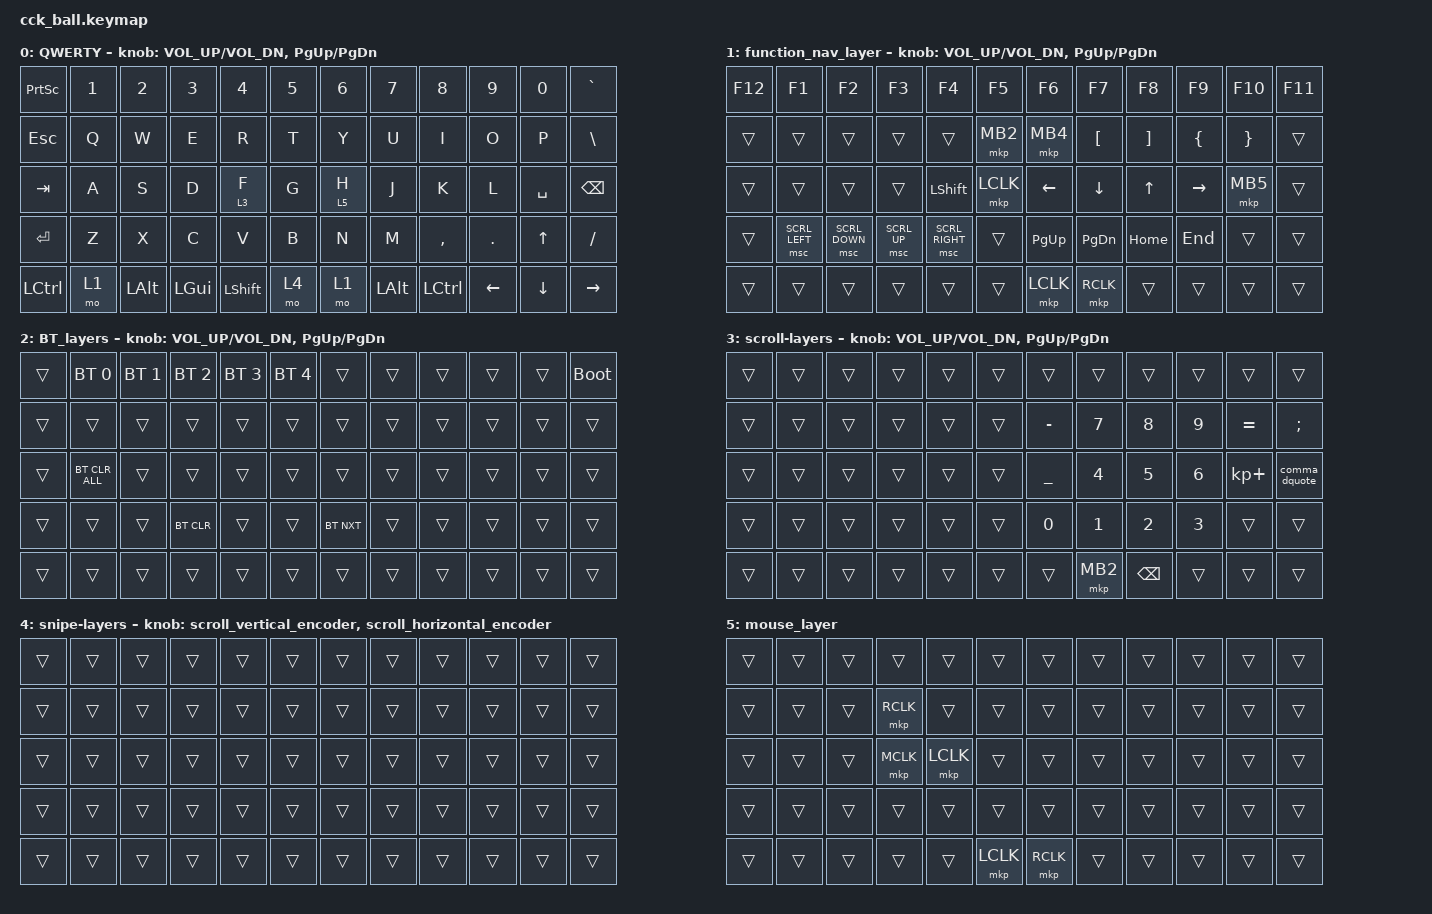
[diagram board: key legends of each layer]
#define ZMK_POINTING_DEFAULT_SCRL_VAL 12   // 10

#include <input/processors.dtsi>
#include <zephyr/dt-bindings/input/input-event-codes.h>
#include <behaviors.dtsi>
#include <dt-bindings/zmk/bt.h>
#include <dt-bindings/zmk/keys.h>
#include <dt-bindings/zmk/pointing.h>

&msc_input_listener { input-processors = <&zip_scroll_scaler 2 1>; };

&msc {
    acceleration-exponent = <0>;      // 0
    time-to-max-speed-ms = <300>;       // 300
    delay-ms = <0>;                   // 0
};

&soft_off { hold-time-ms = <2000>; };

/ {
    // 上下滚动编码器行为

    scroll_vertical_encoder: scroll_vertical_encoder {
        compatible = "zmk,behavior-sensor-rotate";
        #sensor-binding-cells = <0>;
        bindings = <&msc SCRL_DOWN>, <&msc SCRL_UP>;

        tap-ms = <100>;
    };

    // 左右滚动编码器行为

    scroll_horizontal_encoder: scroll_horizontal_encoder {
        compatible = "zmk,behavior-sensor-rotate";
        #sensor-binding-cells = <0>;
        bindings = <&msc SCRL_LEFT>, <&msc SCRL_RIGHT>;

        tap-ms = <100>;
    };

    // 逗号/双引号 同键：直接按=逗号，Shift=双引号

    comma_dquote: comma_dquote {
        compatible = "zmk,behavior-mod-morph";
        #binding-cells = <0>;
        bindings = <&kp COMMA>, <&kp DOUBLE_QUOTES>;
        mods = <(MOD_LSFT|MOD_RSFT)>;
    };

    behaviors {
    };

    keymap {
        compatible = "zmk,keymap";

        QWERTY {
            bindings = <
&kp PRINTSCREEN   &kp N1                &kp N2        &kp N3            &kp N4                &kp N5  &kp N6    &kp N7                 &kp N8             &kp N9             &kp N0                    &kp GRAVE
&kp ESC           &kp Q                 &kp W         &kp E             &kp R                 &kp T   &kp Y     &kp U                  &kp I              &kp O              &kp P                     &kp BSLH
&kp TAB           &kp A               &kp S         &kp D             &lt 3 F               &kp G   &lt 5 H     &kp J                  &kp K              &kp L              &kp SPACE               &kp BACKSPACE
&kp ENTER         &kp Z                 &kp X         &kp C             &kp V                 &kp B   &kp N     &kp M                  &kp COMMA          &kp DOT            &kp UP_ARROW              &kp FSLH
&kp LEFT_CONTROL  &mo 1                 &kp LEFT_ALT  &kp LEFT_GUI      &kp LEFT_SHIFT        &mo 4   &mo 1     &kp LEFT_ALT         &kp LEFT_CONTROL   &kp LEFT_ARROW     &kp DOWN_ARROW            &kp RIGHT_ARROW
            >;

            sensor-bindings = <&inc_dec_kp C_VOL_UP C_VOL_DN &inc_dec_kp PG_UP PG_DN>;
        };

        // L1: Function keys, navigation, scrolling and mouse buttons.
        function_nav_layer {
            bindings = <
&kp F12  &kp F1          &kp F2          &kp F3        &kp F4           &kp F5     &kp F6          &kp F7            &kp F8             &kp F9          &kp F10  &kp F11
&trans   &trans          &trans          &trans        &trans           &mkp MB2   &mkp MB4        &kp LEFT_BRACKET  &kp RIGHT_BRACKET  &kp LEFT_BRACE  &kp RIGHT_BRACE  &trans
&trans   &trans          &trans          &trans        &kp LEFT_SHIFT   &mkp LCLK  &kp LEFT_ARROW  &kp DOWN_ARROW    &kp UP_ARROW       &kp RIGHT_ARROW &mkp MB5 &trans
&trans   &msc SCRL_LEFT  &msc SCRL_DOWN  &msc SCRL_UP  &msc SCRL_RIGHT  &trans     &kp PAGE_UP     &kp PAGE_DOWN     &kp HOME           &kp END         &trans   &trans
&trans   &trans          &trans          &trans        &trans           &trans     &mkp LCLK       &mkp RCLK         &trans             &trans          &trans   &trans
            >;

            sensor-bindings = <&inc_dec_kp C_VOL_UP C_VOL_DN &inc_dec_kp PG_UP PG_DN>;
        };

        BT_layers {
            bindings = <
&trans  &bt BT_SEL 0    &bt BT_SEL 1  &bt BT_SEL 2  &bt BT_SEL 3  &bt BT_SEL 4  &trans      &trans  &trans  &trans  &trans  &bootloader
&trans  &trans          &trans        &trans        &trans        &trans        &trans      &trans  &trans  &trans  &trans  &trans
&trans  &bt BT_CLR_ALL  &trans        &trans        &trans        &trans        &trans      &trans  &trans  &trans  &trans  &trans
&trans  &trans          &trans        &bt BT_CLR    &trans        &trans        &bt BT_NXT  &trans  &trans  &trans  &trans  &trans
&trans  &trans          &trans        &trans        &trans        &trans        &trans      &trans  &trans  &trans  &trans  &trans
            >;

            sensor-bindings = <&inc_dec_kp C_VOL_UP C_VOL_DN &inc_dec_kp PG_UP PG_DN>;
        };

        scroll-layers {
            bindings = <
&trans  &trans  &trans  &trans  &trans  &trans  &trans          &trans        &trans         &trans        &trans       &trans
&trans  &trans  &trans  &trans  &trans  &trans  &kp MINUS       &kp NUMBER_7  &kp NUMBER_8   &kp NUMBER_9  &kp EQUAL    &kp SEMICOLON
&trans  &trans  &trans  &trans  &trans  &trans  &kp UNDERSCORE  &kp NUMBER_4  &kp NUMBER_5   &kp NUMBER_6  &kp KP_PLUS  &comma_dquote
&trans  &trans  &trans  &trans  &trans  &trans  &kp NUMBER_0    &kp NUMBER_1  &kp NUMBER_2   &kp NUMBER_3  &trans       &trans
&trans  &trans  &trans  &trans  &trans  &trans  &trans          &mkp MB2      &kp BACKSPACE  &trans        &trans       &trans
            >;

            sensor-bindings = <&inc_dec_kp C_VOL_UP C_VOL_DN &inc_dec_kp PG_UP PG_DN>;
        };

        snipe-layers {
            bindings = <
&trans  &trans  &trans  &trans  &trans  &trans  &trans  &trans  &trans  &trans  &trans  &trans
&trans  &trans  &trans  &trans  &trans  &trans  &trans  &trans  &trans  &trans  &trans  &trans
&trans  &trans  &trans  &trans  &trans  &trans  &trans  &trans  &trans  &trans  &trans  &trans
&trans  &trans  &trans  &trans  &trans  &trans  &trans  &trans  &trans  &trans  &trans  &trans
&trans  &trans  &trans  &trans  &trans  &trans  &trans  &trans  &trans  &trans  &trans  &trans
            >;

            sensor-bindings =
                <&scroll_vertical_encoder>,
                // 编码器1：上下滚动,,,,,,,,,,
                <&scroll_horizontal_encoder>;

            // 编码器2：左右滚动
        };

        mouse_layer {
            bindings = <
&trans  &trans  &trans  &trans        &trans  &trans  &trans  &trans  &trans  &trans  &trans  &trans
&trans  &trans  &trans  &mkp RCLK     &trans  &trans  &trans  &trans  &trans  &trans  &trans  &trans
&trans  &trans  &trans  &mkp MCLK     &mkp LCLK  &trans  &trans  &trans  &trans  &trans  &trans  &trans
&trans  &trans  &trans  &trans        &trans  &trans  &trans  &trans  &trans  &trans  &trans  &trans
&trans  &trans  &trans  &trans        &trans  &mkp LCLK  &mkp RCLK  &trans  &trans  &trans  &trans  &trans
            >;
        };
    };

    conditional_layers {
        compatible = "zmk,conditional-layers";

        bt_layer_condition {
            if-layers = <4 1>;
            then-layer = <2>;
        };
    };
};
